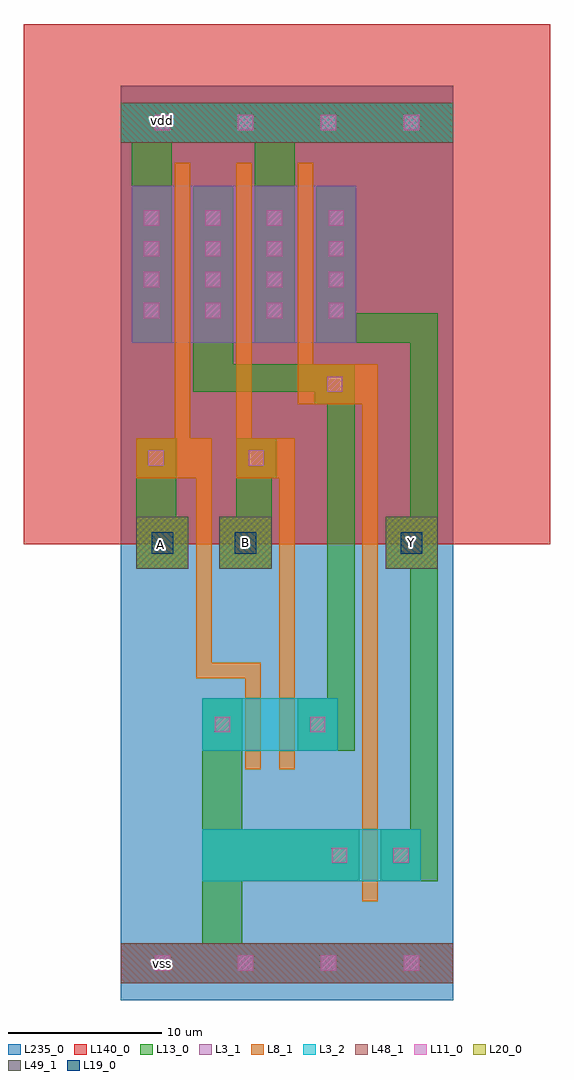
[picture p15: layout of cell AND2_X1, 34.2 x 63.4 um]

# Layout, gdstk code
import gdstk
lib = gdstk.Library(unit=1e-6, precision=1e-09)
def R(c, l, rs):  # rectangles x0, y0, x1, y1
    for r in rs: c.add(gdstk.rectangle(r[:2], r[2:], *l))
def A(c, l, x, y, w, h, nx, ny, dx, dy):  # array of equal rectangles
    R(c, l, [(x+i*dx, y+j*dy, x+i*dx+w, y+j*dy+h) for i in range(nx) for j in range(ny)])
def P(c, l, *ps):  # polygons
    for p in ps: c.add(gdstk.Polygon(p, *l))
L3_1 = (3, 1)
L3_2 = (3, 2)
L8_1 = (8, 1)
L11_0 = (11, 0)
L13_0 = (13, 0)
L19_0 = (19, 0)
L20_0 = (20, 0)
L48_1 = (48, 1)
L49_1 = (49, 1)
L140_0 = (140, 0)
L235_0 = (235, 0)

and2_x1 = lib.new_cell('AND2_X1')
R(and2_x1, L3_1, [(0,1.1,21.6,3.7), (0.7,42.7,7.3,52.9), (4.7,42.7,15.3,52.9)])
R(and2_x1, L3_2, [(5.3,7.7,19.5,11.1), (5.3,16.2,14.1,19.6), (0,55.7,21.6,58.3)])
R(and2_x1, L8_1, [(12.6,38.7,15.2,41.3)])
P(and2_x1, L8_1, [(15.7,6.4),(15.7,38.7),(11.5,38.7),(11.5,54.4),(12.5,54.4),(12.5,41.3),(16.7,41.3),(16.7,6.4)],
  [(8.1,15),(8.1,20.9),(4.9,20.9),(4.9,33.9),(1,33.9),(1,36.5),(3.5,36.5),(3.5,54.4),(4.5,54.4),(4.5,36.5),(5.9,36.5),(5.9,21.9),(9.1,21.9),(9.1,15)],
  [(10.3,15),(10.3,33.9),(7.5,33.9),(7.5,54.4),(8.5,54.4),(8.5,36.5),(11.3,36.5),(11.3,15)])
A(and2_x1, L11_0, 1.5, 44.3, 1, 1, 4, 4, 4, 2)
R(and2_x1, L11_0, [(2.2,1.9,3.2,2.9), (7.6,1.9,8.6,2.9), (7.6,1.9,8.6,2.9), (13,1.9,14,2.9), (13,1.9,14,2.9), (18.4,1.9,19.4,2.9), (13.7,8.9,14.7,9.9), (17.7,8.9,18.7,9.9), (6.1,17.4,7.1,18.4), (12.3,17.4,13.3,18.4), (1.8,34.7,2.8,35.7), (8.3,34.7,9.3,35.7), (13.4,39.5,14.4,40.5), (2.2,56.5,3.2,57.5), (2.2,56.5,3.2,57.5), (7.6,56.5,8.6,57.5), (7.6,56.5,8.6,57.5), (7.6,56.5,8.6,57.5), (7.6,56.5,8.6,57.5), (13,56.5,14,57.5), (13,56.5,14,57.5), (18.4,56.5,19.4,57.5)])
R(and2_x1, L13_0, [(0.7,42.7,3.3,55.7), (8.7,42.7,11.3,55.7), (0,55.7,21.6,58.3)])
P(and2_x1, L13_0, [(11.5,16.2),(11.5,19.6),(13.4,19.6),(13.4,38.7),(12.6,38.7),(12.6,39.5),(4.7,39.5),(4.7,52.9),(7.3,52.9),(7.3,41.3),(15.2,41.3),(15.2,16.2)],
  [(16.9,7.7),(16.9,11.1),(18.8,11.1),(18.8,28),(17.2,28),(17.2,31.4),(18.8,31.4),(18.8,42.7),(12.7,42.7),(12.7,52.9),(15.3,52.9),(15.3,44.6),(20.6,44.6),(20.6,7.7)],
  [(5.3,3.7),(5.3,19.6),(7.9,19.6),(7.9,11.1),(15.5,11.1),(15.5,7.7),(7.9,7.7),(7.9,3.7)],
  [(1,28),(1,36.5),(3.6,36.5),(3.6,31.4),(4.4,31.4),(4.4,28)],
  [(6.4,28),(6.4,31.4),(7.5,31.4),(7.5,36.5),(10.1,36.5),(10.1,33.9),(9.8,33.9),(9.8,28)],
  [(0,1.1),(0,3.7),(0.7,3.7),(3.3,3.7),(21.6,3.7),(21.6,1.1)])
R(and2_x1, L19_0, [(2,29,3.4,30.4), (7.4,29,8.8,30.4), (18.2,29,19.6,30.4)])
R(and2_x1, L20_0, [(1,28,4.4,31.4), (6.4,28,9.8,31.4), (17.2,28,20.6,31.4)])
R(and2_x1, L48_1, [(0,1.1,21.6,3.7), (0,55.7,21.6,58.3)])
R(and2_x1, L49_1, [(1,28,4.4,31.4), (6.4,28,9.8,31.4), (17.2,28,20.6,31.4)])
R(and2_x1, L140_0, [(-6.3,29.6,27.9,63.4)])
R(and2_x1, L235_0, [(0,0,21.6,59.4)])
and2_x1.add(gdstk.Label('Y', (18.9,29.7), layer=49, texttype=0))
and2_x1.add(gdstk.Label('A', (2.6,29.6), layer=49, texttype=0))
and2_x1.add(gdstk.Label('B', (8.1,29.7), layer=49, texttype=0))
and2_x1.add(gdstk.Label('vss', (2.7,2.4), layer=48, texttype=0))
and2_x1.add(gdstk.Label('vdd', (2.7,57.1), layer=48, texttype=0))

lib.write_gds('AND2_X1.gds')
